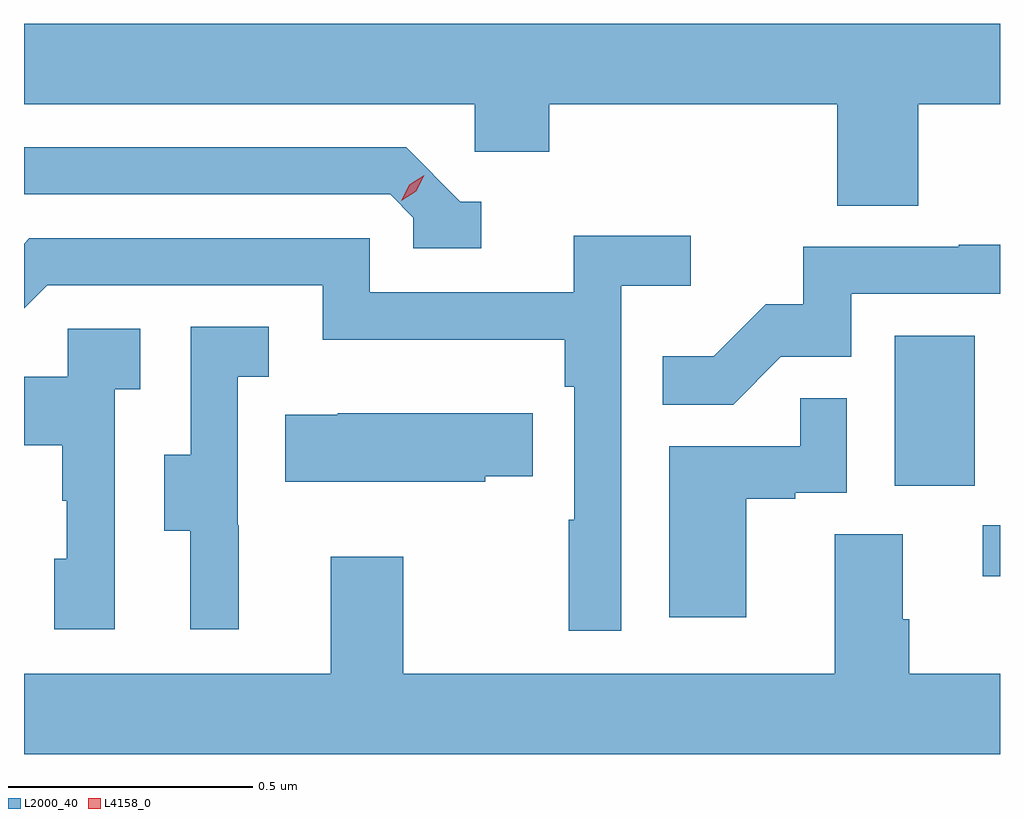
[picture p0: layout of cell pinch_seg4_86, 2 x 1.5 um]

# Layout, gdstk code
import gdstk
lib = gdstk.Library(unit=1e-6, precision=1e-09)
def R(c, l, rs):  # rectangles x0, y0, x1, y1
    for r in rs: c.add(gdstk.rectangle(r[:2], r[2:], *l))
def P(c, l, *ps):  # polygons
    for p in ps: c.add(gdstk.Polygon(p, *l))
L2000_40 = (2000, 40)
L4158_0 = (4158, 0)

pinch_seg4_86 = lib.new_cell('pinch_seg4_86')
R(pinch_seg4_86, L2000_40, [(1071.747,817.164,1071.782,817.269), (1071.566,817.35,1071.73,817.657)])
P(pinch_seg4_86, L2000_40, [(1071.614,818.132),(1071.782,818.132),(1071.782,818.296),(1069.782,818.296),(1069.782,818.132),(1070.706,818.132),(1070.706,818.034),(1070.858,818.034),(1070.858,818.132),(1071.449,818.132),(1071.449,817.924),(1071.614,817.924)],
  [(1070.719,817.932),(1070.676,817.932),(1070.565,818.043),(1069.782,818.043),(1069.782,817.947),(1070.532,817.947),(1070.58,817.899),(1070.58,817.836),(1070.719,817.836)],
  [(1071.006,817.76),(1071.148,817.76),(1071.148,817.862),(1070.909,817.862),(1070.909,817.746),(1070.49,817.746),(1070.49,817.857),(1069.793,817.857),(1069.782,817.846),(1069.782,817.713),(1069.83,817.761),(1070.394,817.761),(1070.394,817.649),(1070.89,817.649),(1070.89,817.553),(1070.91,817.553),(1070.91,817.28),(1070.898,817.28),(1070.898,817.053),(1071.006,817.053)],
  [(1071.333,817.614),(1071.477,817.614),(1071.477,817.743),(1071.782,817.743),(1071.782,817.844),(1071.697,817.844),(1071.697,817.839),(1071.379,817.839),(1071.379,817.722),(1071.302,817.722),(1071.195,817.615),(1071.091,817.615),(1071.091,817.516),(1071.235,817.516)],
  [(1070.222,817.269),(1070.22,817.269),(1070.22,817.573),(1070.284,817.573),(1070.284,817.676),(1070.124,817.676),(1070.124,817.413),(1070.069,817.413),(1070.069,817.258),(1070.123,817.258),(1070.123,817.056),(1070.222,817.056)],
  [(1069.968,817.547),(1070.02,817.547),(1070.02,817.671),(1069.872,817.671),(1069.872,817.573),(1069.782,817.573),(1069.782,817.433),(1069.86,817.433),(1069.86,817.319),(1069.87,817.319),(1069.87,817.2),(1069.844,817.2),(1069.844,817.056),(1069.968,817.056)],
  [(1071.262,817.323),(1071.362,817.323),(1071.362,817.335),(1071.468,817.335),(1071.468,817.529),(1071.373,817.529),(1071.373,817.431),(1071.104,817.431),(1071.104,817.08),(1071.262,817.08)],
  [(1070.727,817.369),(1070.825,817.369),(1070.825,817.498),(1070.425,817.498),(1070.425,817.495),(1070.317,817.495),(1070.317,817.358),(1070.727,817.358)],
  [(1071.782,816.964),(1071.596,816.964),(1071.596,817.076),(1071.583,817.076),(1071.583,817.25),(1071.443,817.25),(1071.443,816.964),(1070.559,816.964),(1070.559,817.204),(1070.411,817.204),(1070.411,816.964),(1069.782,816.964),(1069.782,816.8),(1071.782,816.8)])
P(pinch_seg4_86, L4158_0, [(1070.555,817.934),(1070.555,817.934),(1070.571,817.967),(1070.602,817.986),(1070.602,817.986),(1070.602,817.986),(1070.586,817.953),(1070.555,817.934)])

lib.write_gds('pinch_seg4_86.gds')
